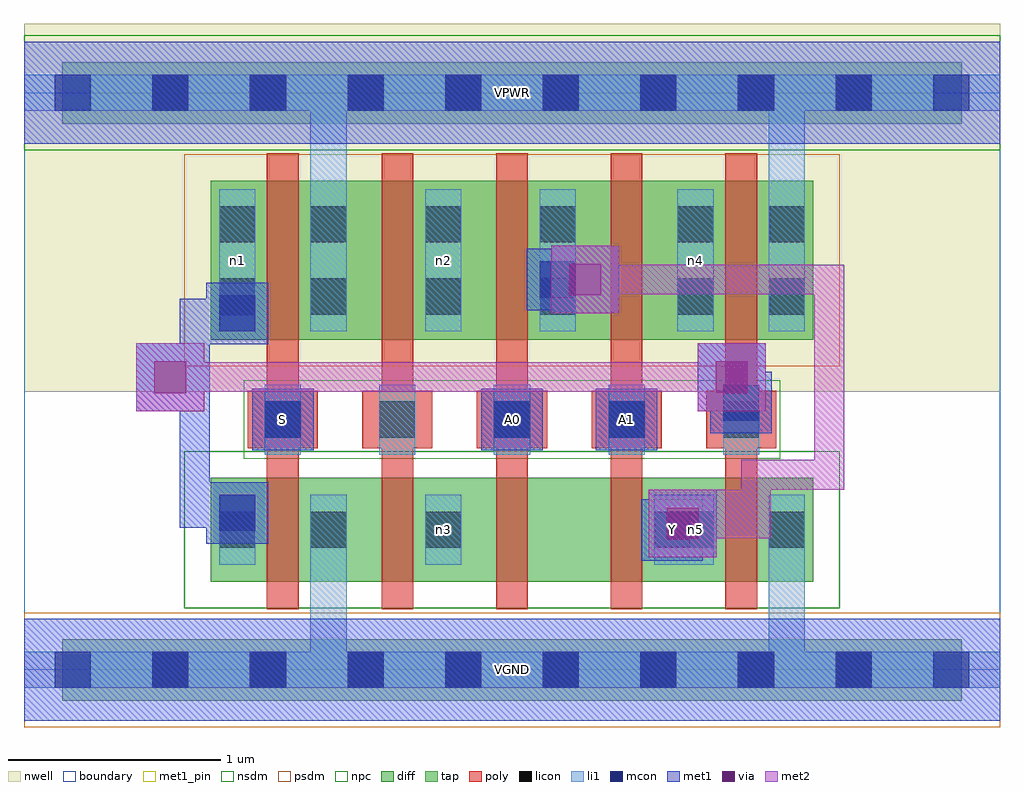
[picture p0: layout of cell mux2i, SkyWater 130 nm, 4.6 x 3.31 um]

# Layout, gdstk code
import gdstk
lib = gdstk.Library(unit=1e-6, precision=1e-09)
def R(c, l, rs):  # rectangles x0, y0, x1, y1
    for r in rs: c.add(gdstk.rectangle(r[:2], r[2:], *l))
def A(c, l, x, y, w, h, nx, ny, dx, dy):  # array of equal rectangles
    R(c, l, [(x+i*dx, y+j*dy, x+i*dx+w, y+j*dy+h) for i in range(nx) for j in range(ny)])
nwell = (64, 20)
diff = (65, 20)
tap = (65, 44)
poly = (66, 20)
licon = (66, 44)
li1 = (67, 20)
mcon = (67, 44)
met1_pin = (68, 16)
met1 = (68, 20)
via = (68, 44)
met2 = (69, 20)
nsdm = (93, 44)
psdm = (94, 20)
npc = (95, 20)
boundary = (235, 4)

mux2i = lib.new_cell('mux2i')
R(mux2i, nwell, [(0,1.31,4.6,3.045)])
R(mux2i, diff, [(0.88,0.415,3.18,0.905), (3.04,0.415,3.72,0.905), (0.88,1.555,3.18,2.305), (3.04,1.555,3.72,2.305)])
R(mux2i, tap, [(0.18,-0.145,4.42,0.145), (0.18,2.575,4.42,2.865)])
A(mux2i, poly, 1.145, 0.285, 0.15, 2.15, 5, 1, 0.54, 0)
A(mux2i, poly, 1.055, 1.045, 0.33, 0.27, 5, 1, 0.54, 0)
A(mux2i, licon, 0.605, -0.085, 0.17, 0.17, 8, 2, 0.46, 2.72)
A(mux2i, licon, 1.135, 1.095, 0.17, 0.17, 5, 1, 0.54, 0)
A(mux2i, licon, 1.35, 1.675, 0.17, 0.17, 3, 2, 0.54, 0.34)
R(mux2i, licon, [(0.92,0.575,1.09,0.745), (1.35,0.575,1.52,0.745), (1.89,0.575,2.06,0.745), (2.97,0.575,3.14,0.745), (3.08,0.575,3.25,0.745), (3.51,0.575,3.68,0.745), (0.92,1.675,1.09,1.845), (3.08,1.675,3.25,1.845), (3.51,1.675,3.68,1.845), (0.92,2.015,1.09,2.185), (3.08,2.015,3.25,2.185), (3.51,2.015,3.68,2.185)])
A(mux2i, li1, 1.135, 1.015, 0.17, 0.33, 5, 1, 0.54, 0)
A(mux2i, li1, 1.35, 1.595, 0.17, 0.67, 3, 1, 0.54, 0)
R(mux2i, li1, [(0,-0.085,4.6,0.085), (1.35,-0.085,1.52,0.825), (3.51,-0.085,3.68,0.825), (0.92,0.495,1.09,0.825), (1.35,0.495,1.52,0.825), (1.89,0.495,2.06,0.825), (2.97,0.495,3.14,0.825), (3.08,0.495,3.25,0.825), (3.51,0.495,3.68,0.825), (0.92,1.595,1.09,2.265), (1.35,1.595,1.52,2.805), (3.08,1.595,3.25,2.265), (3.51,1.595,3.68,2.265), (3.51,1.595,3.68,2.805), (0,2.635,4.6,2.805)])
A(mux2i, mcon, 0.145, -0.085, 0.17, 0.17, 10, 2, 0.46, 2.72)
R(mux2i, mcon, [(2.97,0.575,3.14,0.745), (0.92,0.655,1.09,0.825), (1.135,1.095,1.305,1.265), (2.215,1.095,2.385,1.265), (2.755,1.095,2.925,1.265), (3.295,1.175,3.465,1.345), (0.92,1.595,1.09,1.765), (2.43,1.755,2.6,1.925)])
R(mux2i, met1_pin, [(0,-0.24,4.6,0.24), (2.91,0.515,3.2,0.805), (1.075,1.035,1.365,1.325), (2.155,1.035,2.445,1.325), (2.695,1.035,2.985,1.325), (0,2.48,4.6,2.96)])
R(mux2i, met1, [(0,-0.24,4.6,0.24), (2.91,0.515,3.2,0.805), (2.945,0.53,3.265,0.85), (0.86,0.595,1.15,0.885), (3.035,0.62,3.175,0.76), (0.735,0.67,1.075,0.81), (0.735,0.67,0.875,0.99), (0.735,0.85,0.875,1.565), (1.075,1.035,1.365,1.325), (2.155,1.035,2.445,1.325), (2.695,1.035,2.985,1.325), (3.235,1.115,3.525,1.405), (3.265,1.19,3.45,1.33), (3.265,1.19,3.405,1.45), (0.53,1.22,0.85,1.54), (3.175,1.22,3.495,1.54), (0.62,1.31,0.875,1.45), (0.735,1.425,0.875,1.75), (0.86,1.535,1.15,1.825), (0.735,1.61,1.075,1.75), (2.485,1.68,2.805,2), (2.37,1.695,2.66,1.985), (2.445,1.77,2.715,1.91), (0,2.48,4.6,2.96)])
R(mux2i, via, [(3.03,0.615,3.18,0.765), (0.615,1.305,0.765,1.455), (3.26,1.305,3.41,1.455), (2.57,1.765,2.72,1.915)])
R(mux2i, met2, [(2.945,0.53,3.265,0.85), (3.035,0.62,3.52,0.76), (3.265,0.62,3.38,0.85), (3.38,0.62,3.52,0.99), (3.38,0.85,3.865,0.99), (3.725,0.85,3.865,1.91), (0.53,1.22,0.85,1.54), (3.175,1.22,3.495,1.54), (0.62,1.31,3.405,1.45), (2.485,1.68,2.805,2), (2.575,1.77,3.865,1.91)])
R(mux2i, nsdm, [(0.755,0.29,3.845,1.03), (0,2.45,4.6,2.99)])
R(mux2i, psdm, [(0,-0.27,4.6,0.27), (0.755,1.43,3.845,2.43)])
R(mux2i, npc, [(1.035,0.995,3.565,1.365)])
R(mux2i, boundary, [(0,0,4.6,2.72)])
mux2i.add(gdstk.Label('n1', (1.005,1.93), layer=67, texttype=5))
mux2i.add(gdstk.Label('n2', (1.975,1.93), layer=67, texttype=5))
mux2i.add(gdstk.Label('n4', (3.165,1.93), layer=67, texttype=5))
mux2i.add(gdstk.Label('n3', (1.975,0.66), layer=67, texttype=5))
mux2i.add(gdstk.Label('n5', (3.165,0.66), layer=67, texttype=5))
mux2i.add(gdstk.Label('S', (1.22,1.18), layer=68, texttype=5))
mux2i.add(gdstk.Label('A0', (2.3,1.18), layer=68, texttype=5))
mux2i.add(gdstk.Label('A1', (2.84,1.18), layer=68, texttype=5))
mux2i.add(gdstk.Label('Y', (3.055,0.66), layer=68, texttype=5))
mux2i.add(gdstk.Label('VPWR', (2.3,2.72), layer=68, texttype=5))
mux2i.add(gdstk.Label('VGND', (2.3,0), layer=68, texttype=5))
mux2i.add(gdstk.Label('S', (1.22,1.18), layer=68, texttype=16))
mux2i.add(gdstk.Label('A0', (2.3,1.18), layer=68, texttype=16))
mux2i.add(gdstk.Label('A1', (2.84,1.18), layer=68, texttype=16))
mux2i.add(gdstk.Label('Y', (3.055,0.66), layer=68, texttype=16))
mux2i.add(gdstk.Label('VPWR', (2.3,2.72), layer=68, texttype=16))
mux2i.add(gdstk.Label('VGND', (2.3,0), layer=68, texttype=16))

lib.write_gds('mux2i.gds')
